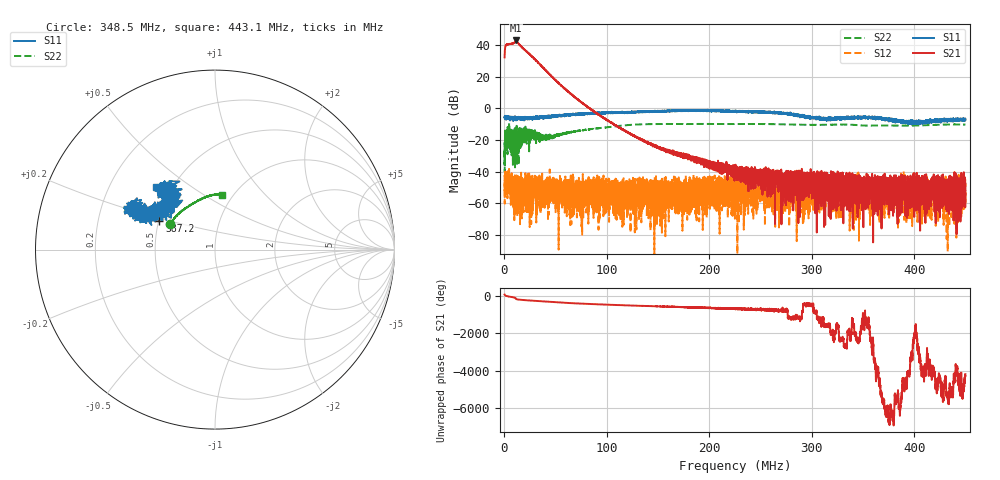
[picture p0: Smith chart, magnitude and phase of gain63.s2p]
# Hz S DB R 50
! CMT, M5065, 19127446, 24.2.4/2
! Date: 12/3/2024 4:23:48 PM
! Data: Format (Calibration Info)
! Freq	S11:dB/Ang(F2)	S21:dB/Ang(F2)	S12:dB/Ang(F2)	S22:dB/Ang(F2)
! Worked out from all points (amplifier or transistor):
!   9000 points, 300 kHz to 450 MHz, reference 50 ohm
!   highest |S21| = 42.9 dB at 11.24 MHz (marker M1)
!   |S21| within 3 dB of that: 1.583 MHz to 15.35 MHz (13.77 MHz wide, 163 % of centre)
!   unconditionally stable (mu >= 1): 14.9 MHz to 16.39 MHz; 17.39 MHz to 20.94 MHz; 21.04 MHz to end of sweep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
!   at 75.26 MHz: K = 49.63, MAG = 6.7 dB, |S12| = -49.5 dB
!   at 225.2 MHz: K = 14997.92, MAG = -36.5 dB, |S12| = -58.2 dB
!   at 450 MHz: K = 38763.78, MAG = -46.3 dB, |S12| = -52.9 dB
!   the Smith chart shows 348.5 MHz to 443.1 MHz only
!   S11 on the Smith chart (normalised r, x): 348.5 MHz: 0.33, +0.21; 387.2 MHz: 0.50, +0.18; 443.1 MHz: 0.41, +0.37
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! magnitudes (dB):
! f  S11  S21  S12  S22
! 300 kHz  -5.6  32.2  -52.3  -27.4
! 2.899 MHz  -4.9  40.3  -48.4  -18.5
! 11.24 MHz  -7.0  42.9  -47.0  -21.8
! 19.69 MHz  -6.5  37.1  -61.8  -17.3
! 41.08 MHz  -5.6  23.6  -53.6  -19.2
! 75.26 MHz  -3.3  3.8  -49.5  -14.0
! 112.9 MHz  -2.7  -12.5  -54.9  -11.0
! 150.2 MHz  -2.1  -25.2  -54.9  -9.9
! 225.2 MHz  -1.8  -41.7  -58.2  -9.9
! 262.2 MHz  -2.6  -42.8  -51.8  -10.0
! 266.7 MHz  -2.7  -41.4  -45.7  -10.1
! 272.7 MHz  -3.5  -43.9  -41.8  -10.1
! 290 MHz  -4.5  -45.5  -43.2  -10.4
! 300.1 MHz  -5.6  -46.3  -52.5  -10.4
! 322.4 MHz  -6.2  -49.1  -57.3  -10.3
! 328.6 MHz  -7.3  -45.7  -48.3  -10.3
! 348.5 MHz  -5.6  -44.9  -56.9  -10.8
! 375.1 MHz  -6.6  -44.0  -57.7  -10.9
! 387.2 MHz  -9.2  -56.7  -45.9  -11.0
! 438.7 MHz  -7.2  -45.4  -46.5  -10.2
! 443.1 MHz  -6.4  -52.0  -56.8  -10.2
! 450 MHz  -7.0  -47.7  -52.9  -10.2
